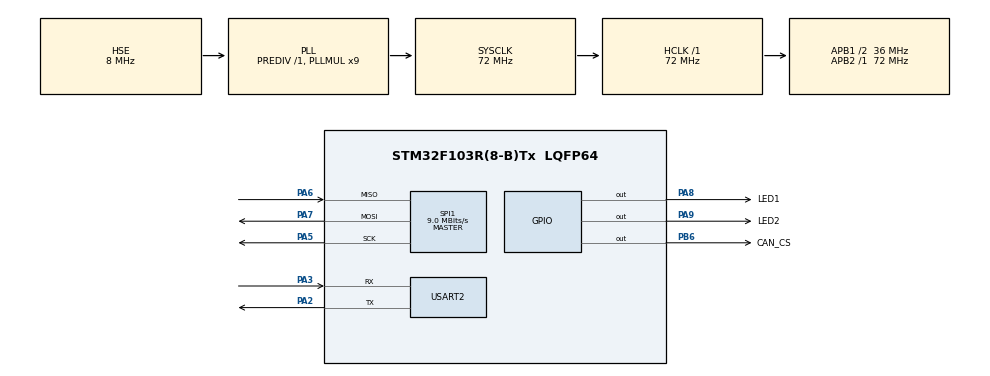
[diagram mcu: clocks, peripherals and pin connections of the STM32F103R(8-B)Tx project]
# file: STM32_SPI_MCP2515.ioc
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Dma.Request0=USART2_RX
Dma.USART2_RX.0.Direction=DMA_PERIPH_TO_MEMORY
Dma.USART2_RX.0.Instance=DMA1_Channel6
Dma.USART2_RX.0.MemDataAlignment=DMA_MDATAALIGN_BYTE
Dma.USART2_RX.0.MemInc=DMA_MINC_ENABLE
Dma.USART2_RX.0.Mode=DMA_NORMAL
Dma.USART2_RX.0.PeriphDataAlignment=DMA_PDATAALIGN_BYTE
Dma.USART2_RX.0.PeriphInc=DMA_PINC_DISABLE
Dma.USART2_RX.0.Priority=DMA_PRIORITY_LOW
Mcu.Family=STM32F1
Mcu.Name=STM32F103R(8-B)Tx
Mcu.Package=LQFP64
NVIC.DMA1_Channel6_IRQn=true\:0\:0\:false\:false\:true\:false\:true\:true
NVIC.PriorityGroup=NVIC_PRIORITYGROUP_4
PA2.Mode=Asynchronous
PA2.Signal=USART2_TX
PA3.Mode=Asynchronous
PA3.Signal=USART2_RX
PA5.Mode=Full_Duplex_Master
PA5.Signal=SPI1_SCK
PA6.Mode=Full_Duplex_Master
PA6.Signal=SPI1_MISO
PA7.Mode=Full_Duplex_Master
PA7.Signal=SPI1_MOSI
PA8.GPIO_Label=LED1
PA8.GPIO_Speed=GPIO_SPEED_FREQ_MEDIUM
PA8.Signal=GPIO_Output
PA9.GPIO_Label=LED2
PA9.GPIO_Speed=GPIO_SPEED_FREQ_MEDIUM
PA9.Signal=GPIO_Output
PB6.GPIO_Label=CAN_CS
PB6.GPIO_Speed=GPIO_SPEED_FREQ_MEDIUM
PB6.PinState=GPIO_PIN_SET
PB6.Signal=GPIO_Output
PD0-OSC_IN.Mode=HSE-External-Oscillator
PD0-OSC_IN.Signal=RCC_OSC_IN
PD1-OSC_OUT.Mode=HSE-External-Oscillator
PD1-OSC_OUT.Signal=RCC_OSC_OUT
ProjectManager.HeapSize=0x200
ProjectManager.StackSize=0x400
ProjectManager.TargetToolchain=STM32CubeIDE
RCC.AHBFreq_Value=72000000
RCC.APB1CLKDivider=RCC_HCLK_DIV2
RCC.APB1Freq_Value=36000000
RCC.APB1TimFreq_Value=72000000
RCC.APB2Freq_Value=72000000
RCC.APB2TimFreq_Value=72000000
RCC.HCLKFreq_Value=72000000
RCC.PLLMUL=RCC_PLL_MUL9
RCC.PLLSourceVirtual=RCC_PLLSOURCE_HSE
RCC.SYSCLKFreq_VALUE=72000000
RCC.SYSCLKSource=RCC_SYSCLKSOURCE_PLLCLK
RCC.USBFreq_Value=72000000
SPI1.BaudRatePrescaler=SPI_BAUDRATEPRESCALER_8
SPI1.CalculateBaudRate=9.0 MBits/s
SPI1.Direction=SPI_DIRECTION_2LINES
SPI1.Mode=SPI_MODE_MASTER
SPI1.VirtualType=VM_MASTER
USART2.VirtualMode=VM_ASYNC
VP_SYS_VS_ND.Mode=No_Debug
board=NUCLEO-F103RB

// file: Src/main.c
/* USER CODE BEGIN Header */
/**
  ******************************************************************************
  * @file           : main.c
  * @brief          : Main program body
  ******************************************************************************
  * @attention
  *
  * Copyright (c) 2023 STMicroelectronics.
  * All rights reserved.
  *
  * This software is licensed under terms that can be found in the LICENSE file
  * in the root directory of this software component.
  * If no LICENSE file comes with this software, it is provided AS-IS.
  *
  ******************************************************************************
  */
/* USER CODE END Header */
#include "main.h"
#include "dma.h"
#include "spi.h"
#include "usart.h"
#include "gpio.h"
#include <stdbool.h>

/* USER CODE BEGIN Includes */
#include "CANSPI.h"

/* USER CODE END Includes */

/* USER CODE BEGIN PD */
#define RX_DATA_SIZE 14
#define TX_DATA_SIZE 20
/* USER CODE END PD */

/* USER CODE BEGIN PV */
/* Private variables ---------------------------------------------------------*/
uCAN_MSG txMessage;
uCAN_MSG rxMessage;
uint8_t RX_DATA[RX_DATA_SIZE];
volatile uint8_t TX_DATA[TX_DATA_SIZE];
bool is_new_message = false;
/* USER CODE END PV */

void SystemClock_Config(void);
/* USER CODE BEGIN PFP */
/* Private function prototypes -----------------------------------------------*/

/* USER CODE END PFP */

/* USER CODE BEGIN 0 */
void HAL_UART_RxCpltCallback(UART_HandleTypeDef *huart){
	txMessage.frame.idType = RX_DATA[0]; /* STD (1) or EXT (2) */
	txMessage.frame.id = (RX_DATA[4] << 24) | (RX_DATA[3] << 16) | (RX_DATA[2] << 8) | RX_DATA[1];
	txMessage.frame.dlc = RX_DATA[5];
	txMessage.frame.data0 = RX_DATA[6];
	txMessage.frame.data1 = RX_DATA[7];
	txMessage.frame.data2 = RX_DATA[8];
	txMessage.frame.data3 = RX_DATA[9];
	txMessage.frame.data4 = RX_DATA[10];
	txMessage.frame.data5 = RX_DATA[11];
	txMessage.frame.data6 = RX_DATA[12];
	txMessage.frame.data7 = RX_DATA[13];
	is_new_message = true;
	HAL_UART_Receive_DMA(&huart2, RX_DATA, RX_DATA_SIZE);
}
/* USER CODE END 0 */

int main(void)
{

  /* MCU Configuration--------------------------------------------------------*/

  /* Reset of all peripherals, Initializes the Flash interface and the Systick. */
  HAL_Init();

  /* Configure the system clock */
  SystemClock_Config();

  /* Initialize all configured peripherals */
  MX_GPIO_Init();
  MX_DMA_Init();
  MX_SPI1_Init();
  MX_USART2_UART_Init();
  /* USER CODE BEGIN 2 */

  /* In this function you can set the filter and the baudrate for the MCP2515 modle */
  CANSPI_Initialize();

  /* Listen for RX_DATA_SIZE bytes from USB */
  HAL_UART_Receive_DMA(&huart2, RX_DATA, RX_DATA_SIZE);
  /* USER CODE END 2 */

  /* Infinite loop */
  while (1)
  {

    /* USER CODE BEGIN 3 */
    if(CANSPI_Receive(&rxMessage)){
    	TX_DATA[0] = rxMessage.frame.idType;
        TX_DATA[1] = (rxMessage.frame.id >> 24) & 0xFF;
        TX_DATA[2] = (rxMessage.frame.id >> 16) & 0xFF;
        TX_DATA[3] = (rxMessage.frame.id >> 8) & 0xFF;
        TX_DATA[4] = rxMessage.frame.id & 0xFF;
        TX_DATA[5] = rxMessage.frame.dlc;
        TX_DATA[6] = rxMessage.frame.data0;
        TX_DATA[7] = rxMessage.frame.data1;
        TX_DATA[8] = rxMessage.frame.data2;
        TX_DATA[9] = rxMessage.frame.data3;
        TX_DATA[10] = rxMessage.frame.data4;
        TX_DATA[11] = rxMessage.frame.data5;
        TX_DATA[12] = rxMessage.frame.data6;
        TX_DATA[13] = rxMessage.frame.data7;
        TX_DATA[14] = 'S';
        TX_DATA[15] = 'T';
        TX_DATA[16] = 'M';
        TX_DATA[17] = '3';
        TX_DATA[18] = '2';
        TX_DATA[19] = '\0';
        HAL_UART_Transmit(&huart2, TX_DATA, TX_DATA_SIZE, 100);
    }

    if(is_new_message){
        CANSPI_Transmit(&txMessage);
    	is_new_message = false;
    }

    HAL_Delay(1);

  }
  /* USER CODE END 3 */
}

void SystemClock_Config(void)
{
  RCC_OscInitTypeDef RCC_OscInitStruct = {0};
  RCC_ClkInitTypeDef RCC_ClkInitStruct = {0};

  /** Initializes the RCC Oscillators according to the specified parameters
  * in the RCC_OscInitTypeDef structure.
  */
  RCC_OscInitStruct.OscillatorType = RCC_OSCILLATORTYPE_HSE;
  RCC_OscInitStruct.HSEState = RCC_HSE_ON;
  RCC_OscInitStruct.HSEPredivValue = RCC_HSE_PREDIV_DIV1;
  RCC_OscInitStruct.HSIState = RCC_HSI_ON;
  RCC_OscInitStruct.PLL.PLLState = RCC_PLL_ON;
  RCC_OscInitStruct.PLL.PLLSource = RCC_PLLSOURCE_HSE;
  RCC_OscInitStruct.PLL.PLLMUL = RCC_PLL_MUL9;
  if (HAL_RCC_OscConfig(&RCC_OscInitStruct) != HAL_OK)
  {
    Error_Handler();
  }

  /** Initializes the CPU, AHB and APB buses clocks
  */
  RCC_ClkInitStruct.ClockType = RCC_CLOCKTYPE_HCLK|RCC_CLOCKTYPE_SYSCLK
                              |RCC_CLOCKTYPE_PCLK1|RCC_CLOCKTYPE_PCLK2;
  RCC_ClkInitStruct.SYSCLKSource = RCC_SYSCLKSOURCE_PLLCLK;
  RCC_ClkInitStruct.AHBCLKDivider = RCC_SYSCLK_DIV1;
  RCC_ClkInitStruct.APB1CLKDivider = RCC_HCLK_DIV2;
  RCC_ClkInitStruct.APB2CLKDivider = RCC_HCLK_DIV1;

  if (HAL_RCC_ClockConfig(&RCC_ClkInitStruct, FLASH_LATENCY_2) != HAL_OK)
  {
    Error_Handler();
  }
}

void Error_Handler(void)
{
  while(1)
  {
  }
}
